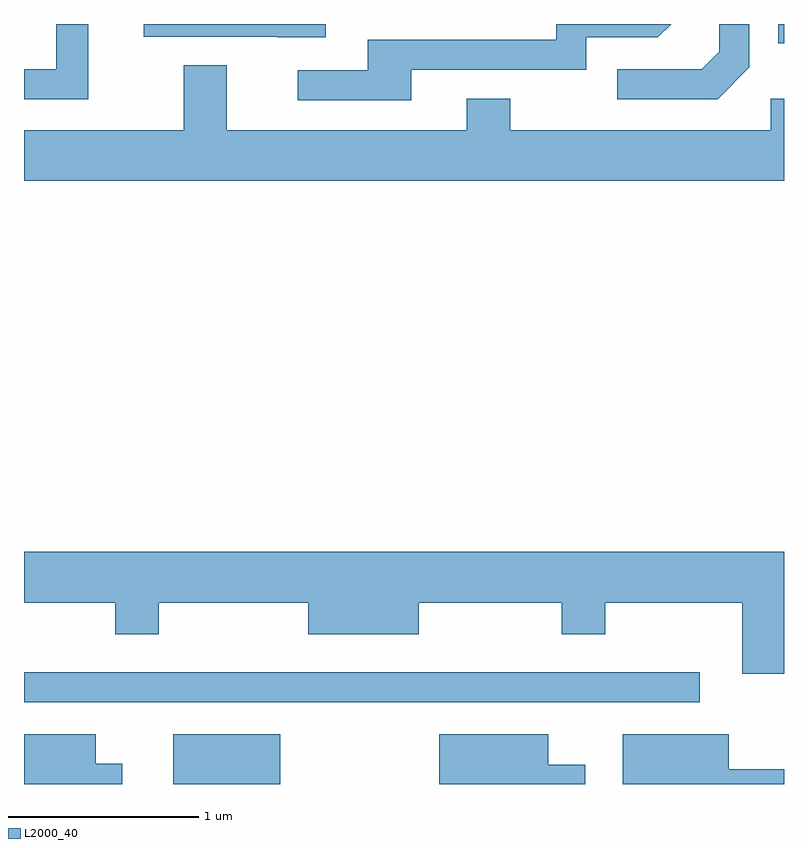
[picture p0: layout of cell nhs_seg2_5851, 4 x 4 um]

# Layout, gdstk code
import gdstk
lib = gdstk.Library(unit=1e-6, precision=1e-09)
def R(c, l, rs):  # rectangles x0, y0, x1, y1
    for r in rs: c.add(gdstk.rectangle(r[:2], r[2:], *l))
def P(c, l, *ps):  # polygons
    for p in ps: c.add(gdstk.Polygon(p, *l))
L2000_40 = (2000, 40)

nhs_seg2_5851 = lib.new_cell('nhs_seg2_5851')
R(nhs_seg2_5851, L2000_40, [(358.396,1051.802,358.959,1052.064), (357.611,1052.231,361.168,1052.389), (361.581,1055.701,361.611,1055.802)])
P(nhs_seg2_5851, L2000_40, [(359.199,1055.802),(358.241,1055.802),(358.241,1055.736),(358.945,1055.736),(358.945,1055.731),(359.199,1055.731)],
  [(361.429,1055.574),(361.429,1055.802),(361.271,1055.802),(361.271,1055.657),(361.179,1055.564),(360.733,1055.564),(360.733,1055.406),(361.262,1055.406)],
  [(359.649,1055.561),(360.569,1055.561),(360.569,1055.731),(360.947,1055.731),(361.018,1055.802),(360.411,1055.802),(360.411,1055.719),(359.421,1055.719),(359.421,1055.559),(359.053,1055.559),(359.053,1055.401),(359.649,1055.401)],
  [(357.949,1055.802),(357.781,1055.802),(357.781,1055.564),(357.611,1055.564),(357.611,1055.406),(357.949,1055.406)],
  [(361.611,1055.409),(361.541,1055.409),(361.541,1055.244),(360.169,1055.244),(360.169,1055.409),(359.941,1055.409),(359.941,1055.244),(358.679,1055.244),(358.679,1055.584),(358.451,1055.584),(358.451,1055.244),(357.611,1055.244),(357.611,1054.976),(361.611,1054.976)],
  [(361.611,1053.024),(357.611,1053.024),(357.611,1052.756),(358.091,1052.756),(358.091,1052.591),(358.319,1052.591),(358.319,1052.756),(359.106,1052.756),(359.106,1052.591),(359.689,1052.591),(359.689,1052.756),(360.441,1052.756),(360.441,1052.591),(360.669,1052.591),(360.669,1052.756),(361.391,1052.756),(361.391,1052.381),(361.611,1052.381)],
  [(358.129,1051.909),(357.989,1051.909),(357.989,1052.064),(357.611,1052.064),(357.611,1051.802),(358.129,1051.802)],
  [(361.611,1051.879),(361.319,1051.879),(361.319,1052.064),(360.761,1052.064),(360.761,1051.802),(361.611,1051.802)],
  [(360.564,1051.904),(360.369,1051.904),(360.369,1052.064),(359.796,1052.064),(359.796,1051.802),(360.564,1051.802)])

lib.write_gds('nhs_seg2_5851.gds')
